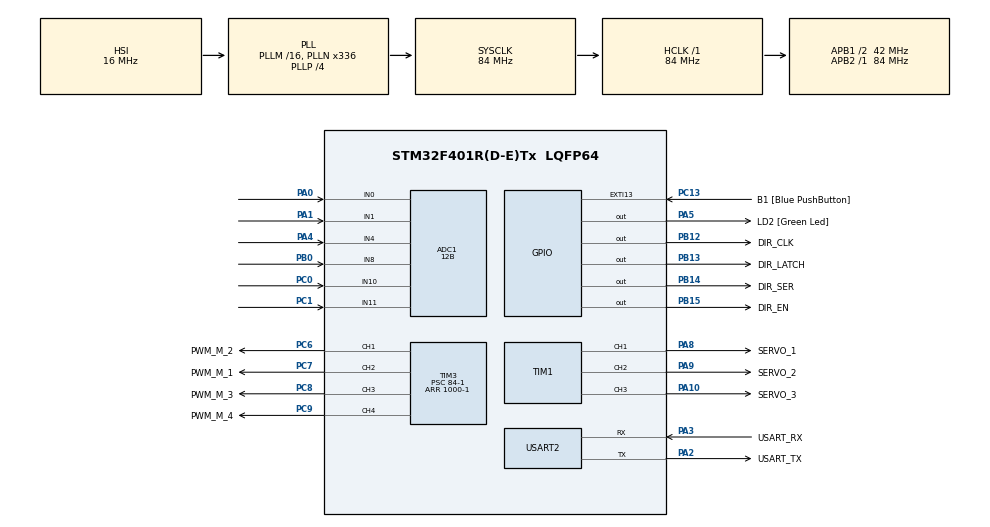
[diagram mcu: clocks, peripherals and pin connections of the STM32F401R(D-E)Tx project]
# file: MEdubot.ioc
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ADC1.Channel-0\#ChannelRegularConversion=ADC_CHANNEL_0
ADC1.Channel-1\#ChannelRegularConversion=ADC_CHANNEL_1
ADC1.Channel-2\#ChannelRegularConversion=ADC_CHANNEL_4
ADC1.Channel-3\#ChannelRegularConversion=ADC_CHANNEL_8
ADC1.Channel-4\#ChannelRegularConversion=ADC_CHANNEL_10
ADC1.Channel-5\#ChannelRegularConversion=ADC_CHANNEL_11
ADC1.ContinuousConvMode=DISABLE
ADC1.NbrOfConversion=6
ADC1.NbrOfConversionFlag=1
ADC1.Rank-0\#ChannelRegularConversion=1
ADC1.Rank-1\#ChannelRegularConversion=2
ADC1.Rank-2\#ChannelRegularConversion=3
ADC1.Rank-3\#ChannelRegularConversion=4
ADC1.Rank-4\#ChannelRegularConversion=5
ADC1.Rank-5\#ChannelRegularConversion=6
ADC1.Resolution=ADC_RESOLUTION_12B
ADC1.SamplingTime-0\#ChannelRegularConversion=ADC_SAMPLETIME_3CYCLES
ADC1.SamplingTime-1\#ChannelRegularConversion=ADC_SAMPLETIME_3CYCLES
ADC1.SamplingTime-2\#ChannelRegularConversion=ADC_SAMPLETIME_3CYCLES
ADC1.SamplingTime-3\#ChannelRegularConversion=ADC_SAMPLETIME_3CYCLES
ADC1.SamplingTime-4\#ChannelRegularConversion=ADC_SAMPLETIME_3CYCLES
ADC1.SamplingTime-5\#ChannelRegularConversion=ADC_SAMPLETIME_3CYCLES
ADC1.master=1
Dma.ADC1.0.Direction=DMA_PERIPH_TO_MEMORY
Dma.ADC1.0.FIFOMode=DMA_FIFOMODE_DISABLE
Dma.ADC1.0.Instance=DMA2_Stream0
Dma.ADC1.0.MemDataAlignment=DMA_MDATAALIGN_HALFWORD
Dma.ADC1.0.MemInc=DMA_MINC_ENABLE
Dma.ADC1.0.Mode=DMA_NORMAL
Dma.ADC1.0.PeriphDataAlignment=DMA_PDATAALIGN_HALFWORD
Dma.ADC1.0.PeriphInc=DMA_PINC_DISABLE
Dma.ADC1.0.Priority=DMA_PRIORITY_LOW
Dma.Request0=ADC1
Mcu.Family=STM32F4
Mcu.Name=STM32F401R(D-E)Tx
Mcu.Package=LQFP64
NVIC.DMA2_Stream0_IRQn=true\:0\:0\:false\:false\:true\:false\:true\:true
NVIC.EXTI15_10_IRQn=true\:0\:0\:false\:false\:true\:true\:true\:true
NVIC.PriorityGroup=NVIC_PRIORITYGROUP_0
PA0-WKUP.Signal=ADCx_IN0
PA1.Signal=ADCx_IN1
PA10.GPIO_Label=SERVO_3
PA10.Signal=S_TIM1_CH3
PA13.GPIO_Label=TMS
PA13.Mode=Serial_Wire
PA13.Signal=SYS_JTMS-SWDIO
PA14.GPIO_Label=TCK
PA14.Mode=Serial_Wire
PA14.Signal=SYS_JTCK-SWCLK
PA2.GPIO_Label=USART_TX
PA2.GPIO_Mode=GPIO_MODE_AF_PP
PA2.GPIO_PuPd=GPIO_NOPULL
PA2.GPIO_Speed=GPIO_SPEED_FREQ_LOW
PA2.Mode=Asynchronous
PA2.Signal=USART2_TX
PA3.GPIO_Label=USART_RX
PA3.GPIO_Mode=GPIO_MODE_AF_PP
PA3.GPIO_PuPd=GPIO_NOPULL
PA3.GPIO_Speed=GPIO_SPEED_FREQ_LOW
PA3.Mode=Asynchronous
PA3.Signal=USART2_RX
PA4.Signal=ADCx_IN4
PA5.GPIO_Label=LD2 [Green Led]
PA5.GPIO_Mode=GPIO_MODE_OUTPUT_PP
PA5.GPIO_PuPd=GPIO_NOPULL
PA5.GPIO_Speed=GPIO_SPEED_FREQ_LOW
PA5.Signal=GPIO_Output
PA8.GPIO_Label=SERVO_1
PA8.Signal=S_TIM1_CH1
PA9.GPIO_Label=SERVO_2
PA9.Signal=S_TIM1_CH2
PB0.Signal=ADCx_IN8
PB12.GPIO_Label=DIR_CLK
PB12.Signal=GPIO_Output
PB13.GPIO_Label=DIR_LATCH
PB13.Signal=GPIO_Output
PB14.GPIO_Label=DIR_SER
PB14.Signal=GPIO_Output
PB15.GPIO_Label=DIR_EN
PB15.Signal=GPIO_Output
PC0.Signal=ADCx_IN10
PC1.Signal=ADCx_IN11
PC13-ANTI_TAMP.GPIO_Label=B1 [Blue PushButton]
PC13-ANTI_TAMP.GPIO_ModeDefaultEXTI=GPIO_MODE_IT_FALLING
PC13-ANTI_TAMP.GPIO_PuPd=GPIO_NOPULL
PC13-ANTI_TAMP.Signal=GPXTI13
PC14-OSC32_IN.Mode=LSE-External-Oscillator
PC14-OSC32_IN.Signal=RCC_OSC32_IN
PC15-OSC32_OUT.Mode=LSE-External-Oscillator
PC15-OSC32_OUT.Signal=RCC_OSC32_OUT
PC6.GPIO_Label=PWM_M_2
PC6.Signal=S_TIM3_CH1
PC7.GPIO_Label=PWM_M_1
PC7.Signal=S_TIM3_CH2
PC8.GPIO_Label=PWM_M_3
PC8.Signal=S_TIM3_CH3
PC9.GPIO_Label=PWM_M_4
PC9.Signal=S_TIM3_CH4
PH0\ -\ OSC_IN.Mode=HSE-External-Clock-Source
PH0\ -\ OSC_IN.Signal=RCC_OSC_IN
PH1\ -\ OSC_OUT.Mode=HSE-External-Clock-Source
PH1\ -\ OSC_OUT.Signal=RCC_OSC_OUT
ProjectManager.HeapSize=0x200
ProjectManager.StackSize=0x400
ProjectManager.TargetToolchain=STM32CubeIDE
RCC.48MHZClocksFreq_Value=48000000
RCC.AHBFreq_Value=84000000
RCC.APB1CLKDivider=RCC_HCLK_DIV2
RCC.APB1Freq_Value=42000000
RCC.APB1TimFreq_Value=84000000
RCC.APB2Freq_Value=84000000
RCC.APB2TimFreq_Value=84000000
RCC.CortexFreq_Value=84000000
RCC.HCLKFreq_Value=84000000
RCC.HSE_VALUE=8000000
RCC.HSI_VALUE=16000000
RCC.PLLN=336
RCC.PLLP=RCC_PLLP_DIV4
RCC.PLLQ=7
RCC.SYSCLKFreq_VALUE=84000000
RCC.SYSCLKSource=RCC_SYSCLKSOURCE_PLLCLK
RCC.VCOOutputFreq_Value=336000000
SH.ADCx_IN0.0=ADC1_IN0,IN0
SH.ADCx_IN1.0=ADC1_IN1,IN1
SH.ADCx_IN10.0=ADC1_IN10,IN10
SH.ADCx_IN11.0=ADC1_IN11,IN11
SH.ADCx_IN4.0=ADC1_IN4,IN4
SH.ADCx_IN8.0=ADC1_IN8,IN8
SH.S_TIM1_CH1.0=TIM1_CH1,PWM Generation1 CH1
SH.S_TIM1_CH2.0=TIM1_CH2,PWM Generation2 CH2
SH.S_TIM1_CH3.0=TIM1_CH3,PWM Generation3 CH3
SH.S_TIM3_CH1.0=TIM3_CH1,PWM Generation1 CH1
SH.S_TIM3_CH2.0=TIM3_CH2,PWM Generation2 CH2
SH.S_TIM3_CH3.0=TIM3_CH3,PWM Generation3 CH3
SH.S_TIM3_CH4.0=TIM3_CH4,PWM Generation4 CH4
TIM1.Channel-PWM\ Generation1\ CH1=TIM_CHANNEL_1
TIM1.Channel-PWM\ Generation2\ CH2=TIM_CHANNEL_2
TIM1.Channel-PWM\ Generation3\ CH3=TIM_CHANNEL_3
TIM3.Channel-PWM\ Generation1\ CH1=TIM_CHANNEL_1
TIM3.Channel-PWM\ Generation2\ CH2=TIM_CHANNEL_2
TIM3.Channel-PWM\ Generation3\ CH3=TIM_CHANNEL_3
TIM3.Channel-PWM\ Generation4\ CH4=TIM_CHANNEL_4
TIM3.Period=1000-1
TIM3.Prescaler=84-1
USART2.VirtualMode=VM_ASYNC
VP_TIM1_VS_ClockSourceINT.Mode=Internal
VP_TIM2_VS_ClockSourceINT.Mode=Internal
VP_TIM3_VS_ClockSourceINT.Mode=Internal
VP_TIM4_VS_ClockSourceINT.Mode=Internal
board=NUCLEO-F401RE

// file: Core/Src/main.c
/* USER CODE BEGIN Header */
/**
 ******************************************************************************
 * @file           : main.c
 * @brief          : Main program body
 ******************************************************************************
 * @attention
 *
 * Copyright (c) 2024 STMicroelectronics.
 * All rights reserved.
 *
 * This software is licensed under terms that can be found in the LICENSE file
 * in the root directory of this software component.
 * If no LICENSE file comes with this software, it is provided AS-IS.
 *
 ******************************************************************************
 */
/* USER CODE END Header */
#include "main.h"

/* USER CODE BEGIN PD */
#define MAX_SPEED 1000.0
#define MOTOR_DIR_FORWARD 0
#define MOTOR_DIR_STOP 1
#define MOTOR_DIR_BACK 2
/* USER CODE END PD */

ADC_HandleTypeDef hadc1;
DMA_HandleTypeDef hdma_adc1;

TIM_HandleTypeDef htim1;
TIM_HandleTypeDef htim2;
TIM_HandleTypeDef htim3;
TIM_HandleTypeDef htim4;

UART_HandleTypeDef huart2;

/* USER CODE BEGIN PV */
int sL;
int sR;
int mode = 0;
uint16_t adc[6]={0};
uint16_t blackValues[3] = {0};
uint16_t whiteValues[3] = {0};
uint16_t triggerValues[3] = {0};
/* USER CODE END PV */

void SystemClock_Config(void);
static void MX_GPIO_Init(void);
static void MX_DMA_Init(void);
static void MX_USART2_UART_Init(void);
static void MX_TIM2_Init(void);
static void MX_TIM3_Init(void);
static void MX_TIM4_Init(void);
static void MX_TIM1_Init(void);
static void MX_ADC1_Init(void);

/* USER CODE BEGIN 0 */
void setDirection(uint8_t left, uint8_t right) {
	uint8_t dirMessage = 0b00000000;
	uint8_t i = 0;
	if (left ==MOTOR_DIR_FORWARD) {
		dirMessage |= 0b00010000; //hátra 0b00100000
	}
	if (left == MOTOR_DIR_BACK) {
		dirMessage |= 0b00100000;
	}
	if (left == MOTOR_DIR_STOP) {
		dirMessage |= 0b00000000;
	}
	if (right ==MOTOR_DIR_FORWARD) {
		dirMessage |= 0b10000000; //hátra: 0b00000010
	}
	if (right == MOTOR_DIR_BACK) {
		dirMessage |= 0b00000010;
	}
	if (right == MOTOR_DIR_STOP) {
		dirMessage |= 0b00000000;
	}

	HAL_GPIO_WritePin(DIR_EN_GPIO_Port, DIR_EN_Pin, 0);
	HAL_GPIO_WritePin(DIR_LATCH_GPIO_Port, DIR_LATCH_Pin, 0);
	for (i = 0; i < 8; ++i) {

		if ((dirMessage) & (1 << (i))) {
			HAL_GPIO_WritePin(DIR_SER_GPIO_Port, DIR_SER_Pin, 1);
		} else {
			HAL_GPIO_WritePin(DIR_SER_GPIO_Port, DIR_SER_Pin, 0);
		}
		HAL_Delay(1);
		HAL_GPIO_WritePin(DIR_CLK_GPIO_Port, DIR_CLK_Pin, 1);
		HAL_Delay(1);
		HAL_GPIO_WritePin(DIR_CLK_GPIO_Port, DIR_CLK_Pin, 0);

	}
	HAL_Delay(1);
	HAL_GPIO_WritePin(DIR_LATCH_GPIO_Port, DIR_LATCH_Pin, 1);
	HAL_Delay(1);
	HAL_GPIO_WritePin(DIR_LATCH_GPIO_Port, DIR_LATCH_Pin, 0);

}

uint8_t getDirectionFromSpeed(int32_t speed) {
	uint8_t retValue = MOTOR_DIR_STOP;
	if (speed > 0) {
		retValue = MOTOR_DIR_FORWARD;
	} else if (speed < 0) {
		retValue = MOTOR_DIR_BACK;
	}
	return retValue;
}

uint16_t getPWMFromSpeed(int32_t speed) {
	if (speed < 0) {
		speed = speed * -1;
	}
	if (speed > MAX_SPEED) {
		speed = MAX_SPEED;
	}
	return (speed / MAX_SPEED) * htim3.Instance->ARR;
}
void setSpeed(int16_t left, int16_t right) {
	uint8_t dirLeft = getDirectionFromSpeed(-1 * left);
	uint8_t dirRight = getDirectionFromSpeed(-1 * right);
	setDirection(dirLeft, dirRight);
	htim3.Instance->CCR2 = getPWMFromSpeed(left);
	htim3.Instance->CCR3 = getPWMFromSpeed(right);
}

void HAL_GPIO_EXTI_Callback(uint16_t GPIO_Pin){
	mode += 1;
	if(mode > 3){
		NVIC_SystemReset();
	}
	if(mode == 1){
		for(int i = 0; i < 3; i++){
			blackValues[i] = adc[i];
		}
	}

	if(mode == 2){
		for(int i = 0; i < 3; i++){
			whiteValues[i] = adc[i];
		}

		init_fuzzy();
	}
}

void init_fuzzy(){
FRI_init(5, 2);

FRI_initUniverseById(0, 4); // Universe: leftSens
FRI_addUniverseElement(0, 0);
FRI_addUniverseElement(whiteValues[0], 0);
FRI_addUniverseElement(blackValues[0], 1);
FRI_addUniverseElement(4095, 1);

FRI_initUniverseById(1, 4); // Universe: midSens
FRI_addUniverseElement(0, 0);
FRI_addUniverseElement(whiteValues[1], 0);
FRI_addUniverseElement(blackValues[1], 1);
FRI_addUniverseElement(4095, 1);

FRI_initUniverseById(2, 4); // Universe: rightSens
FRI_addUniverseElement(0, 0);
FRI_addUniverseElement(whiteValues[2], 0);
FRI_addUniverseElement(blackValues[2], 1);
FRI_addUniverseElement(4095, 1);

FRI_initUniverseById(3, 4); // Universe: sL
FRI_addUniverseElement(0, 0);
FRI_addUniverseElement(0.1, 300);
FRI_addUniverseElement(0.5, 500);
FRI_addUniverseElement(0.9, 700);
FRI_addUniverseElement(1, 1000);

FRI_initUniverseById(4, 4); // Universe: sR
FRI_addUniverseElement(0, 0);
FRI_addUniverseElement(0.1, 300);
FRI_addUniverseElement(0.5, 500);
FRI_addUniverseElement(0.9, 700);
FRI_addUniverseElement(1, 1000);

FRI_initRuleBaseById(0, 3, 3); // Rulebase: sL
FRI_addRuleToRulebase(0, 3);
FRI_addAntecedentToRule(0, 0);
FRI_addAntecedentToRule(1, 0);
FRI_addAntecedentToRule(2, 0);

FRI_addRuleToRulebase(1, 3);
FRI_addAntecedentToRule(0, 1);
FRI_addAntecedentToRule(1, 1);
FRI_addAntecedentToRule(2, 1);

FRI_addRuleToRulebase(2, 3);
FRI_addAntecedentToRule(0, 1);
FRI_addAntecedentToRule(1, 1);
FRI_addAntecedentToRule(2, 2);

FRI_initRuleBaseById(1, 3, 4); // Rulebase: sR
FRI_addRuleToRulebase(0, 3);
FRI_addAntecedentToRule(0, 0);
FRI_addAntecedentToRule(1, 0);
FRI_addAntecedentToRule(2, 0);

FRI_addRuleToRulebase(1, 3);
FRI_addAntecedentToRule(0, 1);
FRI_addAntecedentToRule(1, 1);
FRI_addAntecedentToRule(2, 1);

FRI_addRuleToRulebase(2, 3);
FRI_addAntecedentToRule(0, 2);
FRI_addAntecedentToRule(1, 1);
FRI_addAntecedentToRule(2, 1);

}
/* USER CODE END 0 */

int main(void)
{

  /* MCU Configuration--------------------------------------------------------*/

  /* Reset of all peripherals, Initializes the Flash interface and the Systick. */
  HAL_Init();

  /* Configure the system clock */
  SystemClock_Config();

  /* Initialize all configured peripherals */
  MX_GPIO_Init();
  MX_DMA_Init();
  MX_USART2_UART_Init();
  MX_TIM2_Init();
  MX_TIM3_Init();
  MX_TIM4_Init();
  MX_TIM1_Init();
  MX_ADC1_Init();
  /* USER CODE BEGIN 2 */
	HAL_TIM_PWM_Start(&htim3, TIM_CHANNEL_2);
	HAL_TIM_PWM_Start(&htim3, TIM_CHANNEL_3);
	setSpeed(0, 0);

  /* USER CODE END 2 */

  /* Infinite loop */
  /* USER CODE BEGIN WHILE */
	while (1) {
		HAL_ADC_Start_DMA(&hadc1, adc, 6);
		if(mode == 3){
			FRI_setObservationForUniverseById(0, adc[0]);
			FRI_setObservationForUniverseById(1, adc[1]);
			FRI_setObservationForUniverseById(2, adc[2]);
			FRI_calculateAllRuleBases();
			sL = FRI_getObservationById(3);
			sR = FRI_getObservationById(4);
			setSpeed(sL, sR);
		}
		//HAL_Delay(10);

    /* USER CODE END WHILE */

	}
}

void SystemClock_Config(void)
{
  RCC_OscInitTypeDef RCC_OscInitStruct = {0};
  RCC_ClkInitTypeDef RCC_ClkInitStruct = {0};

  /** Configure the main internal regulator output voltage
  */
  __HAL_RCC_PWR_CLK_ENABLE();
  __HAL_PWR_VOLTAGESCALING_CONFIG(PWR_REGULATOR_VOLTAGE_SCALE2);

  /** Initializes the RCC Oscillators according to the specified parameters
  * in the RCC_OscInitTypeDef structure.
  */
  RCC_OscInitStruct.OscillatorType = RCC_OSCILLATORTYPE_HSI;
  RCC_OscInitStruct.HSIState = RCC_HSI_ON;
  RCC_OscInitStruct.HSICalibrationValue = RCC_HSICALIBRATION_DEFAULT;
  RCC_OscInitStruct.PLL.PLLState = RCC_PLL_ON;
  RCC_OscInitStruct.PLL.PLLSource = RCC_PLLSOURCE_HSI;
  RCC_OscInitStruct.PLL.PLLM = 16;
  RCC_OscInitStruct.PLL.PLLN = 336;
  RCC_OscInitStruct.PLL.PLLP = RCC_PLLP_DIV4;
  RCC_OscInitStruct.PLL.PLLQ = 7;
  if (HAL_RCC_OscConfig(&RCC_OscInitStruct) != HAL_OK)
  {
    Error_Handler();
  }

  /** Initializes the CPU, AHB and APB buses clocks
  */
  RCC_ClkInitStruct.ClockType = RCC_CLOCKTYPE_HCLK|RCC_CLOCKTYPE_SYSCLK
                              |RCC_CLOCKTYPE_PCLK1|RCC_CLOCKTYPE_PCLK2;
  RCC_ClkInitStruct.SYSCLKSource = RCC_SYSCLKSOURCE_PLLCLK;
  RCC_ClkInitStruct.AHBCLKDivider = RCC_SYSCLK_DIV1;
  RCC_ClkInitStruct.APB1CLKDivider = RCC_HCLK_DIV2;
  RCC_ClkInitStruct.APB2CLKDivider = RCC_HCLK_DIV1;

  if (HAL_RCC_ClockConfig(&RCC_ClkInitStruct, FLASH_LATENCY_2) != HAL_OK)
  {
    Error_Handler();
  }
}

static void MX_ADC1_Init(void)
{

  ADC_ChannelConfTypeDef sConfig = {0};

  /** Configure the global features of the ADC (Clock, Resolution, Data Alignment and number of conversion)
  */
  hadc1.Instance = ADC1;
  hadc1.Init.ClockPrescaler = ADC_CLOCK_SYNC_PCLK_DIV4;
  hadc1.Init.Resolution = ADC_RESOLUTION_12B;
  hadc1.Init.ScanConvMode = ENABLE;
  hadc1.Init.ContinuousConvMode = DISABLE;
  hadc1.Init.DiscontinuousConvMode = DISABLE;
  hadc1.Init.ExternalTrigConvEdge = ADC_EXTERNALTRIGCONVEDGE_NONE;
  hadc1.Init.ExternalTrigConv = ADC_SOFTWARE_START;
  hadc1.Init.DataAlign = ADC_DATAALIGN_RIGHT;
  hadc1.Init.NbrOfConversion = 6;
  hadc1.Init.DMAContinuousRequests = DISABLE;
  hadc1.Init.EOCSelection = ADC_EOC_SINGLE_CONV;
  if (HAL_ADC_Init(&hadc1) != HAL_OK)
  {
    Error_Handler();
  }

  /** Configure for the selected ADC regular channel its corresponding rank in the sequencer and its sample time.
  */
  sConfig.Channel = ADC_CHANNEL_0;
  sConfig.Rank = 1;
  sConfig.SamplingTime = ADC_SAMPLETIME_3CYCLES;
  if (HAL_ADC_ConfigChannel(&hadc1, &sConfig) != HAL_OK)
  {
    Error_Handler();
  }

  /** Configure for the selected ADC regular channel its corresponding rank in the sequencer and its sample time.
  */
  sConfig.Channel = ADC_CHANNEL_1;
  sConfig.Rank = 2;
  if (HAL_ADC_ConfigChannel(&hadc1, &sConfig) != HAL_OK)
  {
    Error_Handler();
  }

  /** Configure for the selected ADC regular channel its corresponding rank in the sequencer and its sample time.
  */
  sConfig.Channel = ADC_CHANNEL_4;
  sConfig.Rank = 3;
  if (HAL_ADC_ConfigChannel(&hadc1, &sConfig) != HAL_OK)
  {
    Error_Handler();
  }

  /** Configure for the selected ADC regular channel its corresponding rank in the sequencer and its sample time.
  */
  sConfig.Channel = ADC_CHANNEL_8;
  sConfig.Rank = 4;
  if (HAL_ADC_ConfigChannel(&hadc1, &sConfig) != HAL_OK)
  {
    Error_Handler();
  }

  /** Configure for the selected ADC regular channel its corresponding rank in the sequencer and its sample time.
  */
  sConfig.Channel = ADC_CHANNEL_10;
  sConfig.Rank = 5;
  if (HAL_ADC_ConfigChannel(&hadc1, &sConfig) != HAL_OK)
  {
    Error_Handler();
  }

  /** Configure for the selected ADC regular channel its corresponding rank in the sequencer and its sample time.
  */
  sConfig.Channel = ADC_CHANNEL_11;
  sConfig.Rank = 6;
  if (HAL_ADC_ConfigChannel(&hadc1, &sConfig) != HAL_OK)
  {
    Error_Handler();
  }

}

static void MX_TIM1_Init(void)
{

  TIM_ClockConfigTypeDef sClockSourceConfig = {0};
  TIM_MasterConfigTypeDef sMasterConfig = {0};
  TIM_OC_InitTypeDef sConfigOC = {0};
  TIM_BreakDeadTimeConfigTypeDef sBreakDeadTimeConfig = {0};

  htim1.Instance = TIM1;
  htim1.Init.Prescaler = 0;
  htim1.Init.CounterMode = TIM_COUNTERMODE_UP;
  htim1.Init.Period = 65535;
  htim1.Init.ClockDivision = TIM_CLOCKDIVISION_DIV1;
  htim1.Init.RepetitionCounter = 0;
  htim1.Init.AutoReloadPreload = TIM_AUTORELOAD_PRELOAD_DISABLE;
  if (HAL_TIM_Base_Init(&htim1) != HAL_OK)
  {
    Error_Handler();
  }
  sClockSourceConfig.ClockSource = TIM_CLOCKSOURCE_INTERNAL;
  if (HAL_TIM_ConfigClockSource(&htim1, &sClockSourceConfig) != HAL_OK)
  {
    Error_Handler();
  }
  if (HAL_TIM_PWM_Init(&htim1) != HAL_OK)
  {
    Error_Handler();
  }
  sMasterConfig.MasterOutputTrigger = TIM_TRGO_RESET;
  sMasterConfig.MasterSlaveMode = TIM_MASTERSLAVEMODE_DISABLE;
  if (HAL_TIMEx_MasterConfigSynchronization(&htim1, &sMasterConfig) != HAL_OK)
  {
    Error_Handler();
  }
  sConfigOC.OCMode = TIM_OCMODE_PWM1;
  sConfigOC.Pulse = 0;
  sConfigOC.OCPolarity = TIM_OCPOLARITY_HIGH;
  sConfigOC.OCNPolarity = TIM_OCNPOLARITY_HIGH;
  sConfigOC.OCFastMode = TIM_OCFAST_DISABLE;
  sConfigOC.OCIdleState = TIM_OCIDLESTATE_RESET;
  sConfigOC.OCNIdleState = TIM_OCNIDLESTATE_RESET;
  if (HAL_TIM_PWM_ConfigChannel(&htim1, &sConfigOC, TIM_CHANNEL_1) != HAL_OK)
  {
    Error_Handler();
  }
  if (HAL_TIM_PWM_ConfigChannel(&htim1, &sConfigOC, TIM_CHANNEL_2) != HAL_OK)
  {
    Error_Handler();
  }
  if (HAL_TIM_PWM_ConfigChannel(&htim1, &sConfigOC, TIM_CHANNEL_3) != HAL_OK)
  {
    Error_Handler();
  }
  sBreakDeadTimeConfig.OffStateRunMode = TIM_OSSR_DISABLE;
  sBreakDeadTimeConfig.OffStateIDLEMode = TIM_OSSI_DISABLE;
  sBreakDeadTimeConfig.LockLevel = TIM_LOCKLEVEL_OFF;
  sBreakDeadTimeConfig.DeadTime = 0;
  sBreakDeadTimeConfig.BreakState = TIM_BREAK_DISABLE;
  sBreakDeadTimeConfig.BreakPolarity = TIM_BREAKPOLARITY_HIGH;
  sBreakDeadTimeConfig.AutomaticOutput = TIM_AUTOMATICOUTPUT_DISABLE;
  if (HAL_TIMEx_ConfigBreakDeadTime(&htim1, &sBreakDeadTimeConfig) != HAL_OK)
  {
    Error_Handler();
  }
  HAL_TIM_MspPostInit(&htim1);

}

static void MX_TIM2_Init(void)
{

  TIM_ClockConfigTypeDef sClockSourceConfig = {0};
  TIM_MasterConfigTypeDef sMasterConfig = {0};

  htim2.Instance = TIM2;
  htim2.Init.Prescaler = 0;
  htim2.Init.CounterMode = TIM_COUNTERMODE_UP;
  htim2.Init.Period = 4294967295;
  htim2.Init.ClockDivision = TIM_CLOCKDIVISION_DIV1;
  htim2.Init.AutoReloadPreload = TIM_AUTORELOAD_PRELOAD_DISABLE;
  if (HAL_TIM_Base_Init(&htim2) != HAL_OK)
  {
    Error_Handler();
  }
  sClockSourceConfig.ClockSource = TIM_CLOCKSOURCE_INTERNAL;
  if (HAL_TIM_ConfigClockSource(&htim2, &sClockSourceConfig) != HAL_OK)
  {
    Error_Handler();
  }
  sMasterConfig.MasterOutputTrigger = TIM_TRGO_RESET;
  sMasterConfig.MasterSlaveMode = TIM_MASTERSLAVEMODE_DISABLE;
  if (HAL_TIMEx_MasterConfigSynchronization(&htim2, &sMasterConfig) != HAL_OK)
  {
    Error_Handler();
  }

}

static void MX_TIM3_Init(void)
{

  TIM_ClockConfigTypeDef sClockSourceConfig = {0};
  TIM_MasterConfigTypeDef sMasterConfig = {0};
  TIM_OC_InitTypeDef sConfigOC = {0};

  htim3.Instance = TIM3;
  htim3.Init.Prescaler = 84-1;
  htim3.Init.CounterMode = TIM_COUNTERMODE_UP;
  htim3.Init.Period = 1000-1;
  htim3.Init.ClockDivision = TIM_CLOCKDIVISION_DIV1;
  htim3.Init.AutoReloadPreload = TIM_AUTORELOAD_PRELOAD_DISABLE;
  if (HAL_TIM_Base_Init(&htim3) != HAL_OK)
  {
    Error_Handler();
  }
  sClockSourceConfig.ClockSource = TIM_CLOCKSOURCE_INTERNAL;
  if (HAL_TIM_ConfigClockSource(&htim3, &sClockSourceConfig) != HAL_OK)
  {
    Error_Handler();
  }
  if (HAL_TIM_PWM_Init(&htim3) != HAL_OK)
  {
    Error_Handler();
  }
  sMasterConfig.MasterOutputTrigger = TIM_TRGO_RESET;
  sMasterConfig.MasterSlaveMode = TIM_MASTERSLAVEMODE_DISABLE;
  if (HAL_TIMEx_MasterConfigSynchronization(&htim3, &sMasterConfig) != HAL_OK)
  {
    Error_Handler();
  }
  sConfigOC.OCMode = TIM_OCMODE_PWM1;
  sConfigOC.Pulse = 0;
  sConfigOC.OCPolarity = TIM_OCPOLARITY_HIGH;
  sConfigOC.OCFastMode = TIM_OCFAST_DISABLE;
  if (HAL_TIM_PWM_ConfigChannel(&htim3, &sConfigOC, TIM_CHANNEL_1) != HAL_OK)
  {
    Error_Handler();
  }
  if (HAL_TIM_PWM_ConfigChannel(&htim3, &sConfigOC, TIM_CHANNEL_2) != HAL_OK)
  {
    Error_Handler();
  }
  if (HAL_TIM_PWM_ConfigChannel(&htim3, &sConfigOC, TIM_CHANNEL_3) != HAL_OK)
  {
    Error_Handler();
  }
  if (HAL_TIM_PWM_ConfigChannel(&htim3, &sConfigOC, TIM_CHANNEL_4) != HAL_OK)
  {
    Error_Handler();
  }
  HAL_TIM_MspPostInit(&htim3);

}

static void MX_TIM4_Init(void)
{

  TIM_ClockConfigTypeDef sClockSourceConfig = {0};
  TIM_MasterConfigTypeDef sMasterConfig = {0};

  htim4.Instance = TIM4;
  htim4.Init.Prescaler = 0;
  htim4.Init.CounterMode = TIM_COUNTERMODE_UP;
  htim4.Init.Period = 65535;
  htim4.Init.ClockDivision = TIM_CLOCKDIVISION_DIV1;
  htim4.Init.AutoReloadPreload = TIM_AUTORELOAD_PRELOAD_DISABLE;
  if (HAL_TIM_Base_Init(&htim4) != HAL_OK)
  {
    Error_Handler();
  }
  sClockSourceConfig.ClockSource = TIM_CLOCKSOURCE_INTERNAL;
  if (HAL_TIM_ConfigClockSource(&htim4, &sClockSourceConfig) != HAL_OK)
  {
    Error_Handler();
  }
  sMasterConfig.MasterOutputTrigger = TIM_TRGO_RESET;
  sMasterConfig.MasterSlaveMode = TIM_MASTERSLAVEMODE_DISABLE;
  if (HAL_TIMEx_MasterConfigSynchronization(&htim4, &sMasterConfig) != HAL_OK)
  {
    Error_Handler();
  }

}

static void MX_USART2_UART_Init(void)
{

  huart2.Instance = USART2;
  huart2.Init.BaudRate = 115200;
  huart2.Init.WordLength = UART_WORDLENGTH_8B;
  huart2.Init.StopBits = UART_STOPBITS_1;
  huart2.Init.Parity = UART_PARITY_NONE;
  huart2.Init.Mode = UART_MODE_TX_RX;
  huart2.Init.HwFlowCtl = UART_HWCONTROL_NONE;
  huart2.Init.OverSampling = UART_OVERSAMPLING_16;
  if (HAL_UART_Init(&huart2) != HAL_OK)
  {
    Error_Handler();
  }

}

static void MX_DMA_Init(void)
{

  /* DMA controller clock enable */
  __HAL_RCC_DMA2_CLK_ENABLE();

  /* DMA interrupt init */
  /* DMA2_Stream0_IRQn interrupt configuration */
  HAL_NVIC_SetPriority(DMA2_Stream0_IRQn, 0, 0);
  HAL_NVIC_EnableIRQ(DMA2_Stream0_IRQn);

}

static void MX_GPIO_Init(void)
{
  GPIO_InitTypeDef GPIO_InitStruct = {0};

  /* GPIO Ports Clock Enable */
  __HAL_RCC_GPIOC_CLK_ENABLE();
  __HAL_RCC_GPIOH_CLK_ENABLE();
  __HAL_RCC_GPIOA_CLK_ENABLE();
  __HAL_RCC_GPIOB_CLK_ENABLE();

  /*Configure GPIO pin Output Level */
  HAL_GPIO_WritePin(LD2_GPIO_Port, LD2_Pin, GPIO_PIN_RESET);

  /*Configure GPIO pin Output Level */
  HAL_GPIO_WritePin(GPIOB, DIR_CLK_Pin|DIR_LATCH_Pin|DIR_SER_Pin|DIR_EN_Pin, GPIO_PIN_RESET);

  /*Configure GPIO pin : B1_Pin */
  GPIO_InitStruct.Pin = B1_Pin;
  GPIO_InitStruct.Mode = GPIO_MODE_IT_FALLING;
  GPIO_InitStruct.Pull = GPIO_NOPULL;
  HAL_GPIO_Init(B1_GPIO_Port, &GPIO_InitStruct);

  /*Configure GPIO pin : LD2_Pin */
  GPIO_InitStruct.Pin = LD2_Pin;
  GPIO_InitStruct.Mode = GPIO_MODE_OUTPUT_PP;
  GPIO_InitStruct.Pull = GPIO_NOPULL;
  GPIO_InitStruct.Speed = GPIO_SPEED_FREQ_LOW;
  HAL_GPIO_Init(LD2_GPIO_Port, &GPIO_InitStruct);

  /*Configure GPIO pins : DIR_CLK_Pin DIR_LATCH_Pin DIR_SER_Pin DIR_EN_Pin */
  GPIO_InitStruct.Pin = DIR_CLK_Pin|DIR_LATCH_Pin|DIR_SER_Pin|DIR_EN_Pin;
  GPIO_InitStruct.Mode = GPIO_MODE_OUTPUT_PP;
  GPIO_InitStruct.Pull = GPIO_NOPULL;
  GPIO_InitStruct.Speed = GPIO_SPEED_FREQ_LOW;
  HAL_GPIO_Init(GPIOB, &GPIO_InitStruct);

  /* EXTI interrupt init*/
  HAL_NVIC_SetPriority(EXTI15_10_IRQn, 0, 0);
  HAL_NVIC_EnableIRQ(EXTI15_10_IRQn);

}

void Error_Handler(void)
{
	__disable_irq();
	while (1) {
	}
}
